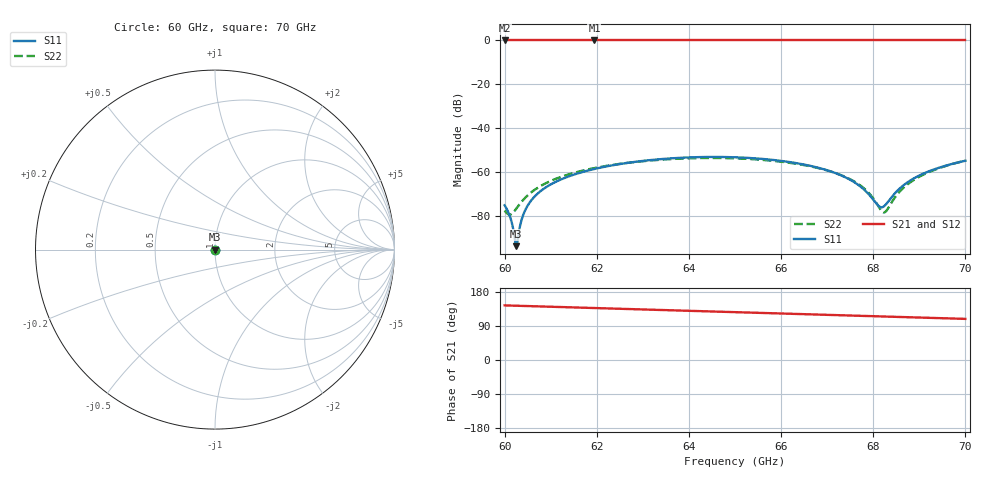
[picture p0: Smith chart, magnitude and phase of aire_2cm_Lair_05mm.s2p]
! TOUCHSTONE file generated by CST MICROWAVE STUDIO
! Date and time: Sun Mar  3 12:20:18 2024
! Project name: aire_def.cst
! Parameters = {d=8.5}
! Header version: 2018
! Port assignment regex: !\s*Touchstone port\s*([0-9]+)\s*=\s*(CST MWS port|CST DS port)\s*([0-9]+|Zmin|Zmax)\s*\(\"(.*)\"\)(\s*mode\s*([0-9]+))?.*
! Touchstone port assignment:
! Touchstone port 1 = CST MWS port 1 ("")
! Touchstone port 2 = CST MWS port 2 ("")
# GHz S MA R 376.7
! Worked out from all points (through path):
!   1001 points, 60 GHz to 70 GHz, reference 376.7 ohm
!   highest |S21| = 0.00 dB at 61.95 GHz (marker M1); lowest = 0.0 dB at 60 GHz (marker M2)
!   group delay of S21, straight-line fit = 9.9 ps
!   lowest |S11| = -93.5 dB at 60.25 GHz (marker M3), VSWR 1.00, Z = 377 + j0.0066 ohm
!   |S11| at or under -10 dB: start of sweep to end of sweep
!   |S22| runs from -79.2 to -53.4 dB; largest |S21 - S12| = 0.00081
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60  0.0001793 -128.1  0.9995 144.1  1 144.1  0.0001355 -75.2
60.12  9.651e-05 -134.2  0.9995 143.7  1 143.7  0.0001097 -35.8
60.25  2.106e-05 155.4  0.9995 143.2  1 143.2  0.0001486 2.9
60.38  9.172e-05 70.8  0.9996 142.8  1 142.8  0.0002227 20.6
60.6  0.000247 61.9  0.9997 142.0  1 142.0  0.0003676 32.2
60.87  0.0004401 59.0  0.9997 141.0  1 141.0  0.0005521 37.4
61.67  0.001008 54.8  1 138.2  1 138.1  0.001084 40.7
61.95  0.001199 53.6  1 137.2  1 137.2  0.001257 40.6
63.34  0.001985 46.9  1 132.2  1 132.2  0.00193 37.1
65  0.002208 38.5  1 126.3  1 126.3  0.00209 29.8
65.9  0.001885 35.0  1 123.1  0.9999 123.1  0.001801 25.2
66.67  0.001383 33.8  1 120.3  0.9997 120.3  0.001352 20.7
67.21  0.0009398 35.4  1 118.4  0.9997 118.4  0.0009433 16.4
67.62  0.0005716 40.9  1 116.9  0.9996 116.9  0.0005936 10.5
67.91  0.0003125 55.0  0.9999 115.9  0.9996 115.9  0.0003353 0.1
68.15  0.0001636 103.2  0.9999 115.1  0.9996 115.0  0.0001467 -36.0
68.24  0.000172 134.2  0.9999 114.7  0.9996 114.7  0.0001231 -73.3
68.34  0.0002282 158.6  0.9999 114.4  0.9996 114.4  0.0001637 -111.0
68.59  0.0004461 -178.0  0.9999 113.5  0.9997 113.5  0.0003822 -141.5
68.92  0.0007704 -169.1  0.9999 112.3  0.9997 112.3  0.0007149 -151.0
69.39  0.001242 -164.5  1 110.7  0.9998 110.6  0.001208 -156.0
70  0.001844 -161.9  1 108.5  1 108.5  0.001856 -158.8
